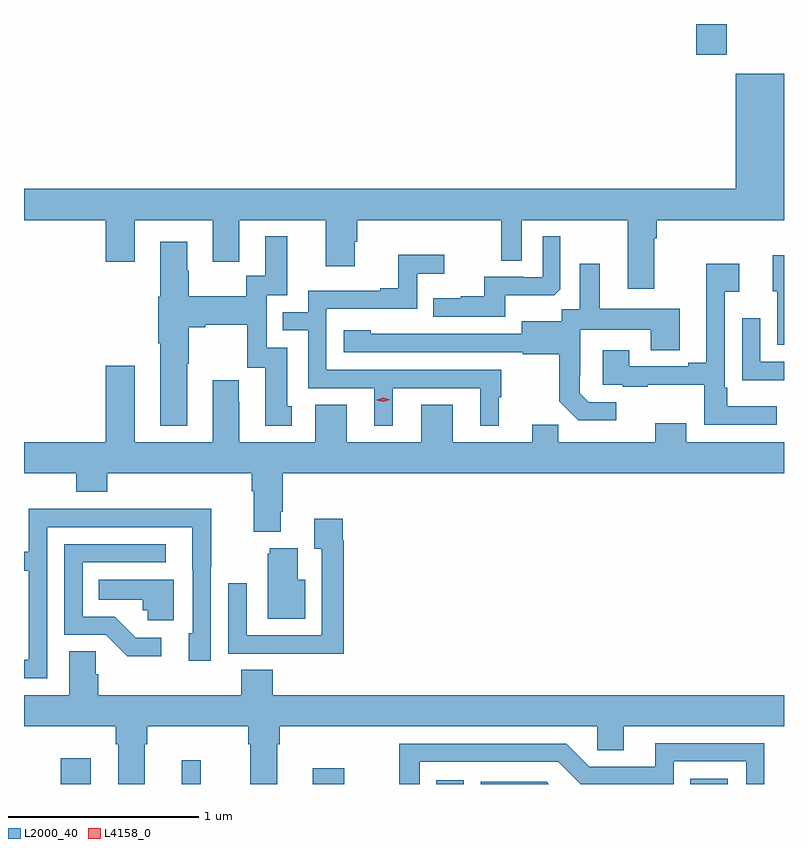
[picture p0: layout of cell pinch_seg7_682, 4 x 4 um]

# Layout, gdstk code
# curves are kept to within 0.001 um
import gdstk
lib = gdstk.Library(unit=1e-6, precision=1e-09)
def R(c, l, rs):  # rectangles x0, y0, x1, y1
    for r in rs: c.add(gdstk.rectangle(r[:2], r[2:], *l))
def P(c, l, *ps):  # polygons
    for p in ps: c.add(gdstk.Polygon(p, *l))
L2000_40 = (2000, 40)
L4158_0 = (4158, 0)

pinch_seg7_682 = lib.new_cell('pinch_seg7_682')
R(pinch_seg7_682, L2000_40, [(360.932,1029.616,361.09,1029.751), (361.568,1029.616,361.67,1029.742), (362.258,1029.616,362.424,1029.7), (362.908,1029.616,363.054,1029.637), (364.246,1029.616,364.444,1029.643), (364.277,1033.455,364.437,1033.616)])
P(pinch_seg7_682, L2000_40, [(364.057,1032.488),(364.07,1032.488),(364.07,1032.584),(364.739,1032.584),(364.739,1033.354),(364.484,1033.354),(364.484,1032.748),(360.739,1032.748),(360.739,1032.584),(361.169,1032.584),(361.169,1032.366),(361.321,1032.366),(361.321,1032.584),(361.733,1032.584),(361.733,1032.366),(361.873,1032.366),(361.873,1032.584),(362.327,1032.584),(362.327,1032.342),(362.479,1032.342),(362.479,1032.471),(362.492,1032.471),(362.492,1032.584),(363.252,1032.584),(363.252,1032.37),(363.36,1032.37),(363.36,1032.584),(363.917,1032.584),(363.917,1032.222),(364.057,1032.222)],
  [(361.597,1031.827),(361.605,1031.827),(361.605,1032.02),(361.693,1032.02),(361.693,1032.032),(361.913,1032.032),(361.913,1031.808),(362.009,1031.808),(362.009,1031.502),(362.149,1031.502),(362.149,1031.604),(362.125,1031.604),(362.125,1031.913),(362.016,1031.913),(362.016,1032.189),(362.125,1032.189),(362.125,1032.499),(362.009,1032.499),(362.009,1032.29),(361.908,1032.29),(361.908,1032.184),(361.605,1032.184),(361.605,1032.318),(361.597,1032.318),(361.597,1032.469),(361.457,1032.469),(361.457,1032.18),(361.445,1032.18),(361.445,1031.936),(361.457,1031.936),(361.457,1031.501),(361.597,1031.501)],
  [(363.271,1032.188),(363.529,1032.188),(363.561,1032.219),(363.561,1032.499),(363.468,1032.499),(363.468,1032.282),(363.368,1032.282),(363.368,1032.285),(363.161,1032.285),(363.161,1032.184),(363.037,1032.184),(363.037,1032.172),(362.893,1032.172),(362.893,1032.075),(363.271,1032.075)],
  [(362.68,1031.7),(363.14,1031.7),(363.14,1031.501),(363.238,1031.501),(363.238,1031.652),(363.25,1031.652),(363.25,1031.796),(362.331,1031.796),(362.331,1032.117),(362.808,1032.117),(362.808,1032.302),(362.95,1032.302),(362.95,1032.401),(362.71,1032.401),(362.71,1032.226),(362.615,1032.226),(362.615,1032.213),(362.235,1032.213),(362.235,1032.099),(362.101,1032.099),(362.101,1032.003),(362.235,1032.003),(362.235,1031.7),(362.582,1031.7),(362.582,1031.501),(362.68,1031.501)],
  [(364.739,1032.398),(364.679,1032.398),(364.679,1032.21),(364.704,1032.21),(364.704,1031.928),(364.739,1031.928)],
  [(364.702,1031.605),(364.441,1031.605),(364.441,1031.701),(364.428,1031.701),(364.428,1032.206),(364.504,1032.206),(364.504,1032.355),(364.331,1032.355),(364.331,1031.833),(364.235,1031.833),(364.235,1031.814),(363.925,1031.814),(363.925,1031.899),(363.785,1031.899),(363.785,1031.718),(363.889,1031.718),(363.889,1031.706),(364.021,1031.706),(364.021,1031.717),(364.32,1031.717),(364.32,1031.508),(364.702,1031.508)],
  [(363.856,1031.625),(363.711,1031.625),(363.664,1031.672),(363.664,1031.767),(363.666,1031.767),(363.666,1032.008),(364.037,1032.008),(364.037,1031.899),(364.189,1031.899),(364.189,1032.118),(363.769,1032.118),(363.769,1032.355),(363.665,1032.355),(363.665,1032.116),(363.57,1032.116),(363.57,1032.052),(363.359,1032.052),(363.359,1031.985),(362.565,1031.986),(362.565,1032.004),(362.421,1032.004),(362.421,1031.889),(363.363,1031.889),(363.363,1031.877),(363.555,1031.877),(363.555,1031.631),(363.655,1031.531),(363.856,1031.531)],
  [(364.739,1031.838),(364.614,1031.838),(364.614,1032.067),(364.518,1032.067),(364.518,1031.741),(364.739,1031.741)],
  [(362.089,1031.05),(362.102,1031.05),(362.102,1031.252),(364.739,1031.252),(364.739,1031.416),(364.225,1031.416),(364.225,1031.515),(364.061,1031.515),(364.061,1031.416),(363.551,1031.416),(363.551,1031.507),(363.413,1031.507),(363.413,1031.416),(362.995,1031.416),(362.995,1031.611),(362.831,1031.611),(362.831,1031.416),(362.437,1031.416),(362.437,1031.611),(362.273,1031.611),(362.273,1031.416),(361.873,1031.416),(361.873,1031.627),(361.87,1031.627),(361.87,1031.74),(361.733,1031.74),(361.733,1031.416),(361.321,1031.416),(361.321,1031.818),(361.169,1031.818),(361.169,1031.416),(360.739,1031.416),(360.739,1031.252),(361.013,1031.252),(361.013,1031.153),(361.178,1031.153),(361.178,1031.252),(361.937,1031.252),(361.937,1031.156),(361.949,1031.156),(361.949,1030.943),(362.089,1030.943)],
  [(360.861,1030.968),(361.625,1030.968),(361.625,1030.744),(361.626,1030.744),(361.626,1030.41),(361.607,1030.41),(361.607,1030.266),(361.722,1030.266),(361.722,1030.759),(361.725,1030.759),(361.725,1031.066),(361.261,1031.066),(361.261,1031.064),(360.765,1031.064),(360.765,1030.839),(360.739,1030.839),(360.739,1030.738),(360.765,1030.738),(360.765,1030.269),(360.739,1030.269),(360.739,1030.173),(360.861,1030.173)],
  [(362.423,1030.898),(362.416,1030.898),(362.416,1031.011),(362.267,1031.011),(362.267,1030.855),(362.307,1030.855),(362.307,1030.398),(361.911,1030.398),(361.911,1030.672),(361.815,1030.672),(361.815,1030.302),(362.131,1030.302),(362.131,1030.301),(362.423,1030.301)],
  [(361.462,1030.386),(361.327,1030.386),(361.216,1030.497),(361.047,1030.497),(361.047,1030.782),(361.486,1030.782),(361.486,1030.878),(360.951,1030.878),(360.951,1030.401),(361.17,1030.401),(361.283,1030.289),(361.462,1030.289)],
  [(362.218,1030.69),(362.179,1030.69),(362.179,1030.858),(362.033,1030.858),(362.033,1030.827),(362.021,1030.827),(362.021,1030.487),(362.218,1030.487)],
  [(361.528,1030.69),(361.132,1030.69),(361.132,1030.586),(361.363,1030.586),(361.363,1030.53),(361.389,1030.53),(361.389,1030.478),(361.528,1030.478)],
  [(362.048,1030.217),(361.883,1030.217),(361.883,1030.084),(361.13,1030.084),(361.13,1030.193),(361.116,1030.193),(361.116,1030.316),(360.977,1030.316),(360.977,1030.084),(360.739,1030.084),(360.739,1029.92),(361.223,1029.92),(361.223,1029.824),(361.235,1029.824),(361.235,1029.616),(361.375,1029.616),(361.375,1029.824),(361.388,1029.824),(361.388,1029.92),(361.919,1029.92),(361.919,1029.824),(361.931,1029.824),(361.931,1029.616),(362.071,1029.616),(362.071,1029.824),(362.084,1029.824),(362.084,1029.92),(363.756,1029.92),(363.756,1029.793),(363.895,1029.793),(363.895,1029.92),(364.739,1029.92),(364.739,1030.084),(362.048,1030.084)],
  [(362.823,1029.732),(363.552,1029.732),(363.668,1029.616),(364.158,1029.616),(364.158,1029.735),(364.539,1029.735),(364.539,1029.616),(364.635,1029.616),(364.635,1029.831),(364.061,1029.831),(364.061,1029.708),(363.714,1029.708),(363.594,1029.828),(362.715,1029.828),(362.715,1029.616),(362.823,1029.616)],
  [(363.49,1029.627),(363.144,1029.627),(363.144,1029.616),(363.501,1029.616)])
P(pinch_seg7_682, L4158_0, [(362.631,1031.628),(362.596,1031.637),(362.595,1031.637),(362.596,1031.638),(362.631,1031.648),(362.667,1031.639),(362.667,1031.639),(362.667,1031.639)])

lib.write_gds('pinch_seg7_682.gds')
